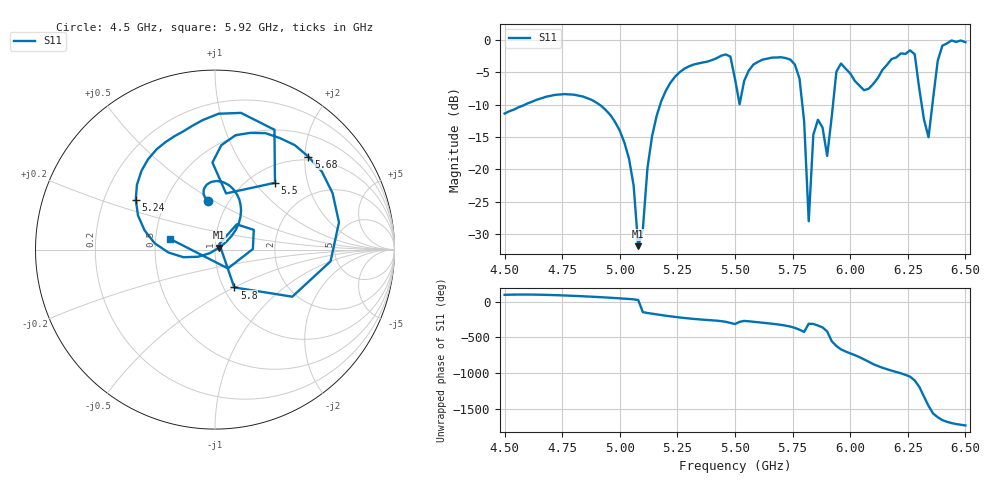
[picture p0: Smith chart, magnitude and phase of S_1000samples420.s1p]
! TOUCHSTONE file generated by CST MICROWAVE STUDIO
! Date and time: Fri Oct 28 03:00:54 2022
! Project name: L.cst
! Parameters = {Di=1.27; Epsilon_r=1.56; InnerDiameter=1.27; Length=2; Lf=10; Lg=60; OuterConductorThickness=0.2921; OuterDiameter=3.6; Wf=3; Wp=41.2; de=1.5; df=6.8; g=0.8; gx=0.739305; gy=0.414855; h=2.34; hf=1.524; px=12.536; py=13.2751; w=9.7; wx=11.7967; wy=12.8603}
! Header version: 2018
! Port assignment regex: !\s*Touchstone port\s*([0-9]+)\s*=\s*(CST MWS port|CST DS port)\s*([0-9]+|Zmin|Zmax)\s*\(\"(.*)\"\)(\s*mode\s*([0-9]+))?.*
! Touchstone port assignment:
! Touchstone port 1 = CST MWS port 1 ("")
# GHz S DB R 50
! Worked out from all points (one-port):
!   101 points, 4.5 GHz to 6.5 GHz, reference 50 ohm
!   lowest |S11| = -31.9 dB at 5.08 GHz (marker M1), VSWR 1.05, Z = 52.4 + j1.13 ohm
!   |S11| at or under -10 dB: start of sweep to 4.587 GHz; 4.913 GHz to 5.175 GHz (262.4 MHz wide, 5.2 % of centre); 5.792 GHz to 5.925 GHz (132.9 MHz wide, 2.27 % of centre) (the widest 3 of 4)
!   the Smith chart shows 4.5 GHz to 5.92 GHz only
!   S11 on the Smith chart (normalised r, x): 4.5 GHz: 0.81, +0.47; 5.24 GHz: 0.34, +0.26; 5.5 GHz: 1.29, +1.28; 5.68 GHz: 0.92, +2.08; 5.8 GHz: 1.12, -0.50; 5.92 GHz: 0.60, +0.08
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4.5  -11.35 97.9
4.76  -8.35 88.4
5  -14.00 48.1
5.08  -31.86 25.1
5.24  -5.65 147.8
5.26  -4.95 140.3
5.46  -2.21 79.2
5.5  -6.02 48.1
5.54  -6.28 91.7
5.68  -2.69 44.9
5.76  -3.78 -5.8
5.8  -12.52 -63.0
5.82  -28.00 52.3
5.84  -14.63 49.3
5.92  -11.80 166.6
5.94  -4.89 100.4
6  -5.14 -3.0
6.06  -7.74 -87.8
6.14  -4.60 155.1
6.22  -2.05 77.4
6.26  -1.58 29.7
6.28  -2.19 -23.7
6.3  -7.56 -112.6
6.32  -12.22 112.4
6.34  -15.01 -19.1
6.38  -3.18 -178.9
6.42  -0.50 117.2
6.5  -0.31 66.0
